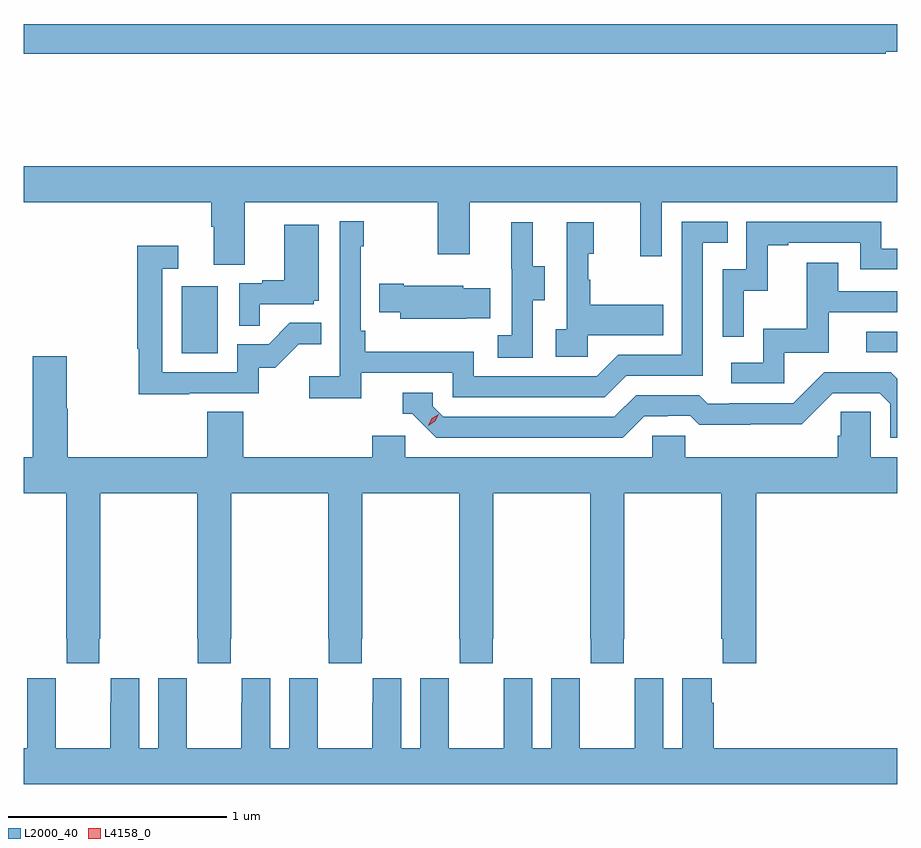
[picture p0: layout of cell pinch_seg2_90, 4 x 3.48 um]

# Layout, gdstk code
import gdstk
lib = gdstk.Library(unit=1e-6, precision=1e-09)
def R(c, l, rs):  # rectangles x0, y0, x1, y1
    for r in rs: c.add(gdstk.rectangle(r[:2], r[2:], *l))
def P(c, l, *ps):  # polygons
    for p in ps: c.add(gdstk.Polygon(p, *l))
L2000_40 = (2000, 40)
L4158_0 = (4158, 0)

pinch_seg2_90 = lib.new_cell('pinch_seg2_90')
R(pinch_seg2_90, L2000_40, [(1036.67,632.292,1036.834,632.599)])
P(pinch_seg2_90, L2000_40, [(1039.894,633.672),(1039.946,633.672),(1039.946,633.8),(1035.946,633.8),(1035.946,633.664),(1039.894,633.664)],
  [(1036.957,632.984),(1037.842,632.984),(1037.842,632.745),(1037.989,632.745),(1037.989,632.984),(1038.77,632.984),(1038.77,632.736),(1038.867,632.736),(1038.867,632.984),(1039.946,632.984),(1039.946,633.148),(1035.946,633.148),(1035.946,632.984),(1036.805,632.984),(1036.805,632.872),(1036.817,632.872),(1036.817,632.698),(1036.957,632.698)],
  [(1037.492,632.202),(1037.91,632.202),(1037.91,632.091),(1038.607,632.091),(1038.706,632.19),(1039.056,632.19),(1039.056,632.799),(1039.169,632.799),(1039.169,632.895),(1038.96,632.895),(1038.96,632.286),(1038.669,632.286),(1038.57,632.187),(1038.006,632.187),(1038.006,632.299),(1037.51,632.299),(1037.51,632.395),(1037.49,632.395),(1037.49,632.783),(1037.503,632.783),(1037.503,632.896),(1037.394,632.896),(1037.394,632.188),(1037.253,632.188),(1037.253,632.086),(1037.492,632.086)],
  [(1039.242,632.579),(1039.352,632.579),(1039.352,632.787),(1039.447,632.787),(1039.447,632.799),(1039.776,632.799),(1039.776,632.676),(1039.946,632.676),(1039.946,632.772),(1039.872,632.772),(1039.872,632.895),(1039.254,632.895),(1039.254,632.676),(1039.146,632.676),(1039.146,632.367),(1039.242,632.367)],
  [(1038.528,632.375),(1038.875,632.375),(1038.875,632.515),(1038.541,632.515),(1038.541,632.63),(1038.531,632.63),(1038.531,632.748),(1038.556,632.748),(1038.556,632.893),(1038.432,632.893),(1038.432,632.402),(1038.381,632.402),(1038.381,632.277),(1038.528,632.277)],
  [(1038.276,632.536),(1038.331,632.536),(1038.331,632.691),(1038.277,632.691),(1038.277,632.893),(1038.179,632.893),(1038.179,632.679),(1038.18,632.679),(1038.18,632.375),(1038.117,632.375),(1038.117,632.272),(1038.276,632.272)],
  [(1037.027,632.517),(1037.274,632.517),(1037.274,632.532),(1037.296,632.532),(1037.296,632.881),(1037.138,632.881),(1037.138,632.626),(1037.039,632.626),(1037.039,632.613),(1036.932,632.613),(1036.932,632.419),(1037.027,632.419)],
  [(1036.703,632.109),(1037.022,632.109),(1037.022,632.226),(1037.098,632.226),(1037.205,632.333),(1037.309,632.333),(1037.309,632.432),(1037.165,632.432),(1037.067,632.334),(1036.923,632.334),(1036.923,632.205),(1036.581,632.205),(1036.581,632.679),(1036.654,632.679),(1036.654,632.785),(1036.465,632.785),(1036.465,632.312),(1036.473,632.312),(1036.473,632.104),(1036.703,632.104)],
  [(1039.428,632.295),(1039.633,632.295),(1039.633,632.481),(1039.946,632.481),(1039.946,632.577),(1039.675,632.577),(1039.675,632.707),(1039.531,632.707),(1039.531,632.404),(1039.332,632.404),(1039.332,632.25),(1039.185,632.25),(1039.185,632.154),(1039.428,632.154)],
  [(1037.975,632.453),(1038.083,632.453),(1038.083,632.59),(1037.958,632.59),(1037.958,632.602),(1037.686,632.602),(1037.686,632.61),(1037.575,632.61),(1037.575,632.48),(1037.669,632.48),(1037.669,632.45),(1037.975,632.45)],
  [(1039.946,632.391),(1039.803,632.391),(1039.803,632.298),(1039.944,632.298),(1039.946,632.296)],
  [(1037.694,631.914),(1037.543,631.914),(1037.543,631.816),(1036.952,631.816),(1036.952,632.024),(1036.787,632.024),(1036.787,631.816),(1036.148,631.816),(1036.148,632.039),(1036.143,632.039),(1036.143,632.278),(1035.988,632.278),(1035.988,631.816),(1035.946,631.816),(1035.946,631.652),(1036.141,631.652),(1036.141,630.985),(1036.143,630.985),(1036.143,630.873),(1036.293,630.873),(1036.293,630.985),(1036.296,630.985),(1036.296,631.652),(1036.741,631.652),(1036.741,630.985),(1036.743,630.985),(1036.743,630.873),(1036.893,630.873),(1036.893,630.985),(1036.896,630.985),(1036.896,631.652),(1037.341,631.652),(1037.341,630.985),(1037.343,630.985),(1037.343,630.873),(1037.493,630.873),(1037.493,630.985),(1037.496,630.985),(1037.496,631.652),(1037.941,631.652),(1037.941,630.985),(1037.943,630.985),(1037.943,630.873),(1038.093,630.873),(1038.093,630.985),(1038.096,630.985),(1038.096,631.652),(1038.541,631.652),(1038.541,630.985),(1038.543,630.985),(1038.543,630.873),(1038.693,630.873),(1038.693,630.985),(1038.696,630.985),(1038.696,631.652),(1039.141,631.652),(1039.141,630.985),(1039.147,630.985),(1039.147,630.873),(1039.301,630.873),(1039.301,631.652),(1039.946,631.652),(1039.946,631.816),(1039.824,631.816),(1039.824,632.024),(1039.687,632.024),(1039.687,631.914),(1039.673,631.914),(1039.673,631.816),(1038.975,631.816),(1038.975,631.914),(1038.825,631.914),(1038.825,631.816),(1037.694,631.816)],
  [(1038.787,632.004),(1038.894,632.004),(1038.894,632.007),(1038.997,632.007),(1039.039,631.965),(1039.272,631.965),(1039.272,631.967),(1039.508,631.967),(1039.65,632.109),(1039.866,632.109),(1039.914,632.061),(1039.914,631.905),(1039.946,631.905),(1039.946,632.176),(1039.917,632.205),(1039.611,632.205),(1039.47,632.064),(1039.177,632.064),(1039.177,632.061),(1039.078,632.061),(1039.039,632.1),(1038.75,632.1),(1038.651,632.001),(1037.868,632.001),(1037.82,632.049),(1037.82,632.112),(1037.681,632.112),(1037.681,632.016),(1037.724,632.016),(1037.835,631.905),(1038.688,631.905)],
  [(1039.946,630.484),(1039.106,630.484),(1039.106,630.692),(1039.096,630.692),(1039.096,630.805),(1038.962,630.805),(1038.962,630.484),(1038.874,630.484),(1038.874,630.805),(1038.744,630.805),(1038.744,630.692),(1038.743,630.692),(1038.743,630.484),(1038.493,630.484),(1038.493,630.692),(1038.492,630.692),(1038.492,630.805),(1038.362,630.805),(1038.362,630.484),(1038.274,630.484),(1038.274,630.805),(1038.144,630.805),(1038.144,630.692),(1038.143,630.692),(1038.143,630.484),(1037.893,630.484),(1037.893,630.692),(1037.892,630.692),(1037.892,630.805),(1037.762,630.805),(1037.762,630.484),(1037.674,630.484),(1037.674,630.805),(1037.544,630.805),(1037.544,630.692),(1037.543,630.692),(1037.543,630.484),(1037.293,630.484),(1037.293,630.692),(1037.292,630.692),(1037.292,630.805),(1037.162,630.805),(1037.162,630.484),(1037.074,630.484),(1037.074,630.805),(1036.944,630.805),(1036.944,630.692),(1036.943,630.692),(1036.943,630.484),(1036.693,630.484),(1036.693,630.692),(1036.692,630.692),(1036.692,630.805),(1036.562,630.805),(1036.562,630.484),(1036.474,630.484),(1036.474,630.805),(1036.344,630.805),(1036.344,630.692),(1036.343,630.692),(1036.343,630.484),(1036.093,630.484),(1036.093,630.692),(1036.092,630.692),(1036.092,630.805),(1035.962,630.805),(1035.962,630.484),(1035.946,630.484),(1035.946,630.32),(1039.946,630.32)])
P(pinch_seg2_90, L4158_0, [(1037.799,631.961),(1037.799,631.961),(1037.815,631.994),(1037.846,632.014),(1037.846,632.014),(1037.846,632.014),(1037.83,631.981),(1037.799,631.961)])

lib.write_gds('pinch_seg2_90.gds')
